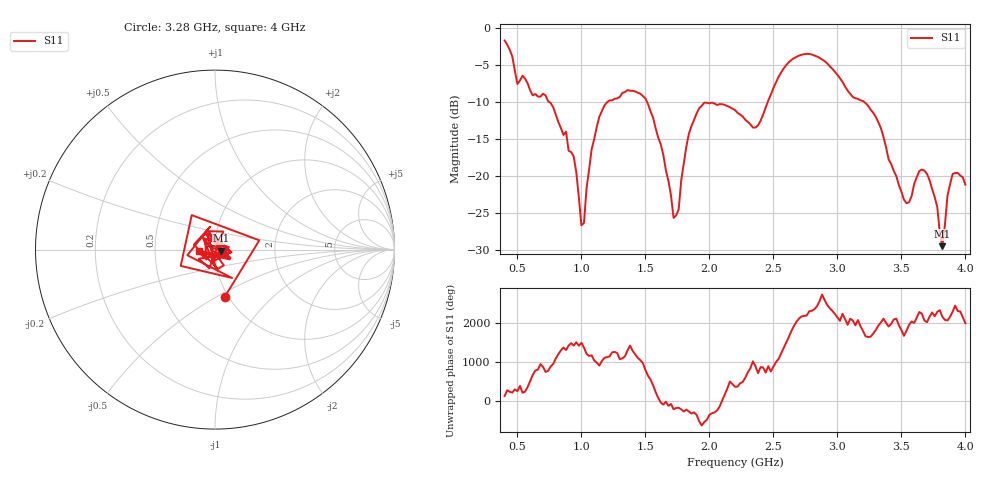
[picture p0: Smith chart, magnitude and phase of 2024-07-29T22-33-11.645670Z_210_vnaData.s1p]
!Created with skrf (http://scikit-rf.org).
# Hz S RI R 50.0
!freq ReS11 ImS11
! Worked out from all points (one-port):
!   181 points, 400 MHz to 4 GHz, reference 50 ohm
!   lowest |S11| = -29.5 dB at 3.82 GHz (marker M1), VSWR 1.07, Z = 53.4 - j0.695 ohm
!   |S11| at or under -10 dB: 752.8 MHz to 1.2 GHz (447 MHz wide, 45.8 % of centre); 1.514 GHz to 2.454 GHz (940.5 MHz wide, 47.4 % of centre); 3.213 GHz to end of sweep
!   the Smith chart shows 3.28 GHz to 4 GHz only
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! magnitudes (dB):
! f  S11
! 400 MHz  -1.6
! 500 MHz  -7.5
! 720 MHz  -9.1
! 860 MHz  -14.4
! 940 MHz  -17.3
! 1 GHz  -26.6
! 1.14 GHz  -11.9
! 1.3 GHz  -9.3
! 1.5 GHz  -9.5
! 1.64 GHz  -17.1
! 1.72 GHz  -25.6
! 1.76 GHz  -24.5
! 1.84 GHz  -14.2
! 1.92 GHz  -10.8
! 2.2 GHz  -11.0
! 2.38 GHz  -13.1
! 2.66 GHz  -4.0
! 2.86 GHz  -4.0
! 3.1 GHz  -8.8
! 3.3 GHz  -12.0
! 3.56 GHz  -23.5
! 3.64 GHz  -19.3
! 3.7 GHz  -19.7
! 3.78 GHz  -24.1
! 3.82 GHz  -29.5
! 3.86 GHz  -22.6
! 3.9 GHz  -19.7
! 4 GHz  -21.2
